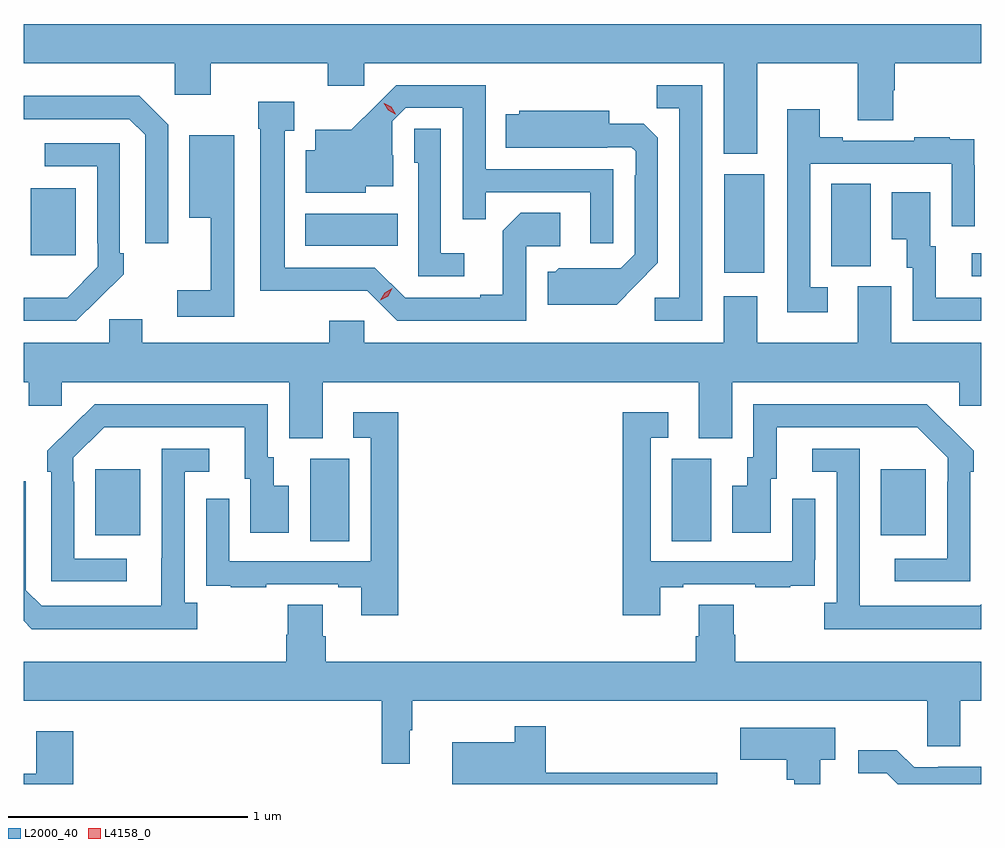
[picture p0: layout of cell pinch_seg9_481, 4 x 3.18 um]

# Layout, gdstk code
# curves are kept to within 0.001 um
import gdstk
lib = gdstk.Library(unit=1e-6, precision=1e-09)
def R(c, l, rs):  # rectangles x0, y0, x1, y1
    for r in rs: c.add(gdstk.rectangle(r[:2], r[2:], *l))
def P(c, l, *ps):  # polygons
    for p in ps: c.add(gdstk.Polygon(p, *l))
L2000_40 = (2000, 40)
L4158_0 = (4158, 0)

pinch_seg9_481 = lib.new_cell('pinch_seg9_481')
R(pinch_seg9_481, L2000_40, [(287.906,1202.416,288.07,1202.76), (289.418,1202.416,289.582,1202.76), (287.009,1202.441,287.197,1202.716), (290.291,1202.441,290.479,1202.716), (290.67,1203.522,290.71,1203.618), (289.637,1203.537,289.804,1203.949), (290.084,1203.565,290.248,1203.908), (286.739,1203.609,286.927,1203.889), (287.885,1203.65,288.272,1203.784)])
P(pinch_seg9_481, L2000_40, [(289.774,1204.412),(290.195,1204.412),(290.195,1204.174),(290.343,1204.174),(290.343,1204.299),(290.348,1204.299),(290.348,1204.412),(290.71,1204.412),(290.71,1204.576),(286.71,1204.576),(286.71,1204.412),(287.34,1204.412),(287.34,1204.281),(287.492,1204.281),(287.492,1204.412),(287.981,1204.412),(287.981,1204.317),(288.132,1204.317),(288.132,1204.412),(289.634,1204.412),(289.634,1204.034),(289.774,1204.034)],
  [(289.173,1203.969),(288.639,1203.969),(288.639,1204.32),(288.266,1204.32),(288.079,1204.135),(287.927,1204.135),(287.927,1204.048),(287.888,1204.048),(287.888,1203.872),(288.138,1203.872),(288.138,1203.899),(288.253,1203.899),(288.253,1204.028),(288.249,1204.028),(288.249,1204.17),(288.306,1204.227),(288.543,1204.227),(288.543,1203.76),(288.641,1203.76),(288.641,1203.873),(289.077,1203.873),(289.077,1203.66),(289.173,1203.66)],
  [(289.545,1204.32),(289.354,1204.32),(289.354,1204.225),(289.449,1204.225),(289.449,1203.432),(289.347,1203.432),(289.347,1203.336),(289.545,1203.336)],
  [(287.313,1204.155),(287.192,1204.276),(286.71,1204.276),(286.71,1204.179),(287.151,1204.179),(287.217,1204.113),(287.217,1203.66),(287.313,1203.66)],
  [(288.81,1203.648),(288.952,1203.648),(288.952,1203.788),(288.787,1203.788),(288.711,1203.712),(288.711,1203.445),(288.617,1203.445),(288.617,1203.432),(288.303,1203.432),(288.177,1203.558),(287.8,1203.558),(287.8,1204.131),(287.839,1204.131),(287.839,1204.252),(287.689,1204.252),(287.689,1204.139),(287.699,1204.139),(287.699,1203.461),(288.144,1203.462),(288.27,1203.336),(288.81,1203.336)],
  [(290.068,1203.477),(289.995,1203.477),(289.995,1203.993),(290.586,1203.993),(290.586,1203.732),(290.682,1203.732),(290.682,1203.986),(290.681,1203.986),(290.681,1204.095),(290.579,1204.095),(290.579,1204.102),(290.431,1204.102),(290.431,1204.089),(290.131,1204.089),(290.131,1204.102),(290.035,1204.102),(290.035,1204.219),(289.899,1204.219),(289.899,1203.372),(290.068,1203.372)],
  [(289.267,1203.485),(289.359,1203.578),(289.359,1204.1),(289.3,1204.159),(289.156,1204.159),(289.156,1204.213),(288.78,1204.213),(288.78,1204.198),(288.724,1204.198),(288.724,1204.058),(289.148,1204.058),(289.148,1204.062),(289.248,1204.062),(289.266,1204.044),(289.266,1203.944),(289.263,1203.944),(289.263,1203.615),(289.203,1203.555),(288.946,1203.556),(288.93,1203.54),(288.899,1203.54),(288.899,1203.404),(289.187,1203.404)],
  [(288.55,1203.619),(288.453,1203.619),(288.453,1204.139),(288.342,1204.139),(288.342,1203.996),(288.357,1203.996),(288.357,1203.522),(288.55,1203.522)],
  [(287.589,1203.871),(287.59,1203.871),(287.59,1204.111),(287.402,1204.111),(287.402,1203.767),(287.492,1203.767),(287.492,1203.463),(287.352,1203.463),(287.352,1203.354),(287.589,1203.354)],
  [(287.021,1203.427),(287.022,1203.426),(287.127,1203.531),(287.127,1203.619),(287.112,1203.619),(287.112,1204.077),(286.797,1204.077),(286.797,1203.981),(287.016,1203.981),(287.016,1203.661),(287.019,1203.661),(287.019,1203.561),(286.891,1203.433),(286.71,1203.432),(286.71,1203.336),(286.93,1203.336)],
  [(290.71,1203.432),(290.521,1203.432),(290.521,1203.648),(290.497,1203.648),(290.497,1203.874),(290.336,1203.874),(290.336,1203.677),(290.399,1203.677),(290.399,1203.558),(290.424,1203.558),(290.424,1203.336),(290.71,1203.336)],
  [(287.959,1203.08),(289.529,1203.08),(289.529,1202.845),(289.669,1202.845),(289.669,1203.08),(290.619,1203.08),(290.619,1202.982),(290.71,1202.982),(290.71,1203.244),(290.335,1203.244),(290.335,1203.48),(290.195,1203.48),(290.195,1203.244),(289.774,1203.244),(289.774,1203.439),(289.634,1203.439),(289.634,1203.244),(288.132,1203.244),(288.132,1203.337),(287.986,1203.337),(287.986,1203.244),(287.206,1203.244),(287.206,1203.342),(287.067,1203.342),(287.067,1203.244),(286.71,1203.244),(286.71,1203.08),(286.73,1203.08),(286.73,1202.982),(286.869,1202.982),(286.869,1203.08),(287.819,1203.08),(287.819,1202.845),(287.959,1202.845)],
  [(290.664,1202.705),(290.679,1202.705),(290.679,1202.793),(290.482,1202.988),(289.758,1202.988),(289.758,1202.766),(289.733,1202.766),(289.733,1202.647),(289.67,1202.647),(289.67,1202.451),(289.831,1202.451),(289.831,1202.676),(289.855,1202.676),(289.855,1202.892),(290.443,1202.892),(290.571,1202.763),(290.571,1202.663),(290.568,1202.663),(290.568,1202.343),(290.349,1202.343),(290.349,1202.247),(290.664,1202.247)],
  [(287.14,1202.343),(286.92,1202.343),(286.92,1202.663),(286.917,1202.663),(286.917,1202.763),(287.046,1202.892),(287.633,1202.892),(287.633,1202.676),(287.657,1202.676),(287.657,1202.451),(287.818,1202.451),(287.818,1202.647),(287.755,1202.647),(287.755,1202.766),(287.73,1202.766),(287.73,1202.988),(287.006,1202.988),(286.809,1202.793),(286.809,1202.705),(286.824,1202.705),(286.824,1202.247),(287.14,1202.247)],
  [(288.275,1202.953),(288.087,1202.953),(288.087,1202.847),(288.159,1202.847),(288.159,1202.331),(287.568,1202.331),(287.568,1202.593),(287.472,1202.593),(287.472,1202.338),(287.473,1202.338),(287.473,1202.229),(287.575,1202.229),(287.575,1202.223),(287.723,1202.223),(287.723,1202.235),(288.023,1202.235),(288.023,1202.223),(288.119,1202.223),(288.119,1202.106),(288.275,1202.106)],
  [(289.369,1202.223),(289.465,1202.223),(289.465,1202.235),(289.765,1202.235),(289.765,1202.223),(289.913,1202.223),(289.913,1202.229),(290.015,1202.229),(290.015,1202.338),(290.016,1202.338),(290.016,1202.593),(289.92,1202.593),(289.92,1202.331),(289.329,1202.331),(289.329,1202.847),(289.402,1202.847),(289.402,1202.953),(289.213,1202.953),(289.213,1202.106),(289.369,1202.106)],
  [(287.434,1202.158),(287.382,1202.158),(287.382,1202.706),(287.485,1202.706),(287.485,1202.802),(287.286,1202.802),(287.285,1202.145),(286.785,1202.145),(286.719,1202.211),(286.719,1202.665),(286.71,1202.665),(286.71,1202.082),(286.744,1202.048),(287.434,1202.048)],
  [(290.71,1202.152),(290.703,1202.145),(290.203,1202.145),(290.202,1202.802),(290.004,1202.802),(290.004,1202.706),(290.106,1202.706),(290.106,1202.158),(290.055,1202.158),(290.055,1202.048),(290.71,1202.048)],
  [(288.322,1201.625),(288.334,1201.625),(288.334,1201.748),(290.484,1201.748),(290.484,1201.558),(290.623,1201.558),(290.623,1201.748),(290.71,1201.748),(290.71,1201.912),(289.682,1201.912),(289.682,1202.025),(289.677,1202.025),(289.677,1202.15),(289.529,1202.15),(289.529,1202.018),(289.517,1202.018),(289.517,1201.912),(287.972,1201.912),(287.972,1202.018),(287.959,1202.018),(287.959,1202.15),(287.812,1202.15),(287.812,1202.025),(287.807,1202.025),(287.807,1201.912),(286.71,1201.912),(286.71,1201.748),(288.205,1201.748),(288.205,1201.485),(288.322,1201.485)],
  [(289.608,1201.447),(288.89,1201.447),(288.89,1201.642),(288.762,1201.642),(288.762,1201.576),(288.5,1201.576),(288.5,1201.401),(289.608,1201.401)],
  [(290.037,1201.502),(290.101,1201.502),(290.101,1201.636),(289.704,1201.636),(289.704,1201.502),(289.897,1201.502),(289.897,1201.418),(289.929,1201.418),(289.929,1201.401),(290.037,1201.401)],
  [(286.916,1201.621),(286.763,1201.621),(286.763,1201.444),(286.71,1201.444),(286.71,1201.401),(286.916,1201.401)],
  [(290.71,1201.473),(290.53,1201.473),(290.53,1201.47),(290.43,1201.47),(290.357,1201.543),(290.196,1201.543),(290.196,1201.446),(290.316,1201.446),(290.361,1201.401),(290.71,1201.401)])
P(pinch_seg9_481, L4158_0, [(288.262,1204.2),(288.232,1204.215),(288.214,1204.244),(288.214,1204.245),(288.215,1204.245),(288.245,1204.23),(288.263,1204.2),(288.263,1204.2)],
  [(288.199,1203.421),(288.199,1203.421),(288.218,1203.454),(288.25,1203.472),(288.25,1203.472),(288.25,1203.472),(288.232,1203.439),(288.2,1203.421)])

lib.write_gds('pinch_seg9_481.gds')
